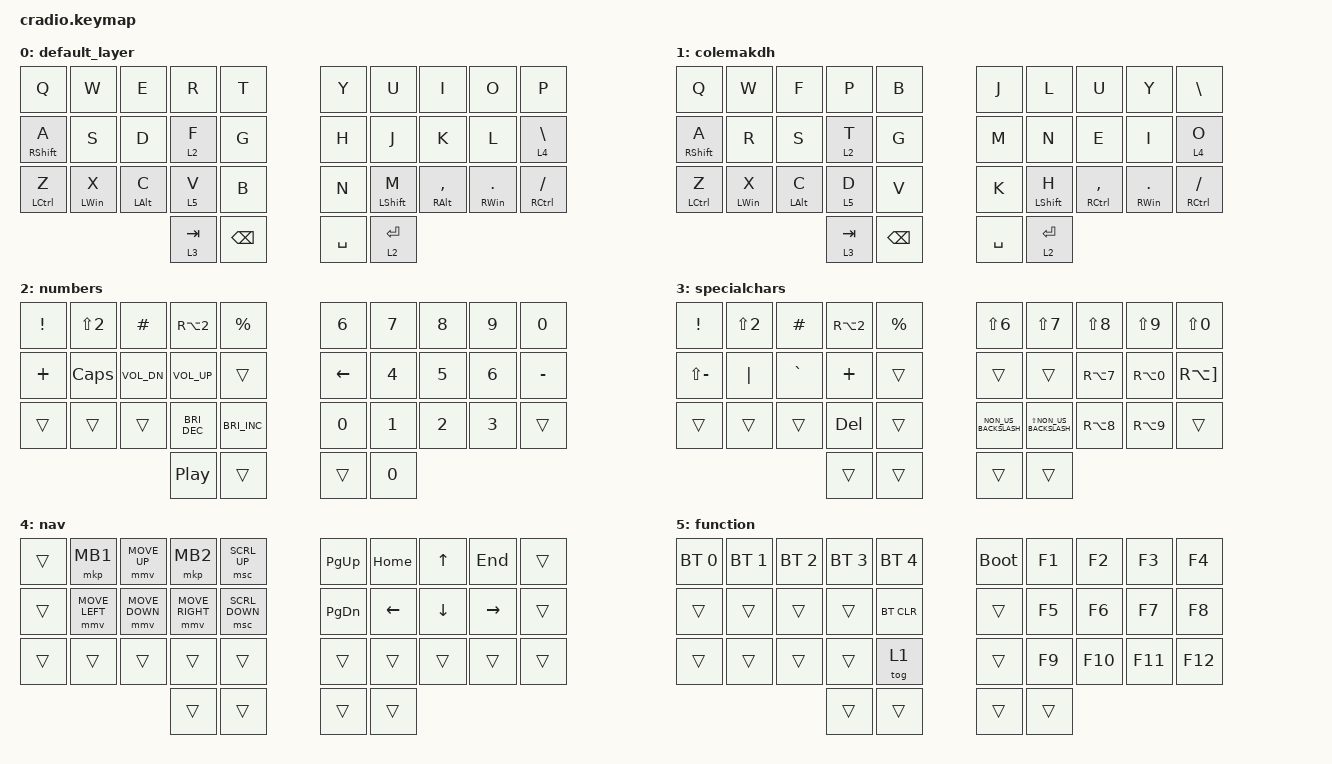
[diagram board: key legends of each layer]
// Copyright (c) 2022 The ZMK Contributors
// SPDX-License-Identifier: MIT

#define ZMK_MOUSE_DEFAULT_MOVE_VAL 2500  // 600
#define ZMK_MOUSE_DEFAULT_SCRL_VAL 20    // 10

#include <dt-bindings/zmk/mouse.h>
#include <behaviors/mouse_keys.dtsi>
#include <behaviors.dtsi>
#include <dt-bindings/zmk/bt.h>
#include <dt-bindings/zmk/keys.h>

#define MAC 0
#define WIN 1
#define RIG 2
#define LEF 3
#define TRI 4
#define MOUSE 5

&sk { quick-release; };

/ {
    chosen { zmk,charmap = &charmap_us; };

    behaviors {
        ht: hold_tap {
            label = "hold_tap";
            compatible = "zmk,behavior-hold-tap";
            #binding-cells = <2>;
            flavor = "tap-preferred";
            tapping-term-ms = <200>;
            quick-tap-ms = <150>;
            bindings = <&kp>, <&kp>;
        };

        hold_preferred_ht: hold_preferred_ht {
            compatible = "zmk,behavior-hold-tap";
            label = "HOLD_PREFERRED_HT";
            bindings = <&kp>, <&kp>;
            flavor = "hold-preferred";
            #binding-cells = <2>;
            tapping-term-ms = <200>;
        };

        hold_preferred_lt: hold_preferred_lt {
            compatible = "zmk,behavior-hold-tap";
            label = "HOLD_PREFERRED_LT";
            bindings = <&mo>, <&kp>;
            flavor = "hold-preferred";
            #binding-cells = <2>;
            tapping-term-ms = <200>;
        };

        sk { quick-release; };

        mmv {
            acceleration-exponent = <1>;      // 1
            time-to-max-speed-ms = <300>;    // 40
            delay-ms = <0>;                   // 0
        };

        msc {
            acceleration-exponent = <0>;      // 0
            time-to-max-speed-ms = <40>;      // 500
            delay-ms = <0>;                   // 10
        };
    };

    conditional_layers { compatible = "zmk,conditional-layers"; };

    combos {
        compatible = "zmk,combos";

        escape {
            bindings = <&kp ESCAPE>;
            key-positions = <0 1>;
            timeout-ms = <25>;
        };

        caps_word {
            bindings = <&caps_word>;
            key-positions = <10 31 11>;
        };

        caps_letter {
            bindings = <&sk RIGHT_SHIFT>;
            key-positions = <10 31>;
        };

        undo {
            bindings = <&kp LC(Z)>;
            key-positions = <20 31>;
            timeout-ms = <25>;
        };

        aa {
            bindings = <&kp LEFT_BRACKET>;
            key-positions = <9 8>;
            timeout-ms = <25>;
        };

        oe {
            bindings = <&kp SEMICOLON>;
            key-positions = <7 8>;
            timeout-ms = <25>;
        };

        ae {
            bindings = <&kp SINGLE_QUOTE>;
            key-positions = <6 7>;
            timeout-ms = <25>;
        };

        l_aa {
            bindings = <&kp LEFT_BRACKET>;
            key-positions = <31 11>;
        };

        space {
            bindings = <&kp SPACE>;
            key-positions = <30 31>;
        };
    };

    keymap {
        compatible = "zmk,keymap";

        default_layer {
            bindings = <
&kp Q               &kp W           &kp E           &kp R                          &kp T            &kp Y      &kp U            &kp I            &kp O                 &kp P
&ht RIGHT_SHIFT A   &kp S           &kp D           &lt 2 F                        &kp G            &kp H      &kp J &kp K      &kp L       &lt 4 BSLH
&ht LCTRL Z         &ht LEFT_WIN X  &ht LEFT_ALT C  &lt 5 V  &kp B                 &kp N            &ht LEFT_SHIFT  M      &ht RIGHT_ALT COMMA        &ht RIGHT_WIN PERIOD            &ht RCTRL SLASH
                                                   &hold_preferred_lt 3 TAB                &kp BACKSPACE    &kp SPACE  &hold_preferred_lt 2 ENTER
            >;
        };

        colemakdh {
            bindings = <
&kp Q              &kp W           &kp F           &kp P           &kp B        &kp J      &kp L                 &kp U           &kp Y               &kp BSLH
&ht RIGHT_SHIFT A  &kp R           &kp S           &lt 2 T         &kp G        &kp M      &kp N      &kp E     &kp I     &lt 4 O
&ht LCTRL Z         &ht LEFT_WIN X  &ht LEFT_ALT C  &lt 5 D      &kp V      &kp K                 &ht LEFT_SHIFT H           &ht RCTRL COMMA        &ht RIGHT_WIN PERIOD            &ht RCTRL  SLASH
                                                   &hold_preferred_lt 3 TAB    &kp BACKSPACE    &kp SPACE  &hold_preferred_lt 2 ENTER
            >;
        };

        numbers {
            bindings = <
&kp EXCLAMATION  &kp LS(N2)  &kp HASH      &kp RA(NUMBER_2)      &kp PERCENT             &kp N6    &kp N7  &kp N8  &kp N9  &kp N0
&kp PLUS         &kp CAPS    &kp C_VOL_DN  &kp C_VOL_UP          &trans                  &kp LEFT  &kp N4  &kp N5  &kp N6  &kp MINUS
&trans           &trans      &trans        &kp C_BRIGHTNESS_DEC  &kp C_BRIGHTNESS_INC    &kp N0    &kp N1  &kp N2  &kp N3  &trans
                                           &kp C_PLAY_PAUSE      &trans                  &trans    &kp N0
            >;
        };

        specialchars {
            bindings = <
&kp EXCL       &kp LS(N2)  &kp HASH   &kp RA(N2)  &kp PERCENT    &kp LS(N6)            &kp LS(N7)                &kp LS(N8)  &kp LS(N9)  &kp LS(N0)
&kp LS(MINUS)  &kp PIPE    &kp GRAVE  &kp PLUS    &trans         &trans                &trans                    &kp RA(N7)  &kp RA(N0)  &kp RA(RBKT)
&trans         &trans      &trans     &kp DELETE  &trans         &kp NON_US_BACKSLASH  &kp LS(NON_US_BACKSLASH)  &kp RA(N8)  &kp RA(N9)  &trans
                                      &trans      &trans         &trans                &trans
            >;
        };

        nav {
            bindings = <
&trans  &mkp MB1        &mmv MOVE_UP    &mkp MB2         &msc SCRL_UP      &kp PAGE_UP    &kp HOME        &kp UP_ARROW    &kp END          &trans
&trans  &mmv MOVE_LEFT  &mmv MOVE_DOWN  &mmv MOVE_RIGHT  &msc SCRL_DOWN    &kp PAGE_DOWN  &kp LEFT_ARROW  &kp DOWN_ARROW  &kp RIGHT_ARROW  &trans
&trans  &trans          &trans          &trans           &trans            &trans         &trans          &trans          &trans           &trans
                                        &trans           &trans            &trans         &trans
            >;
        };

        function {
            bindings = <
&bt BT_SEL 0  &bt BT_SEL 1  &bt BT_SEL 2  &bt BT_SEL 3  &bt BT_SEL 4    &bootloader    &kp F1  &kp F2   &kp F3   &kp F4
&trans        &trans        &trans        &trans        &bt BT_CLR      &trans         &kp F5  &kp F6   &kp F7   &kp F8
&trans        &trans        &trans        &trans        &tog 1          &trans         &kp F9  &kp F10  &kp F11  &kp F12
                                          &trans        &trans          &trans  &trans
            >;
        };
    };
};
